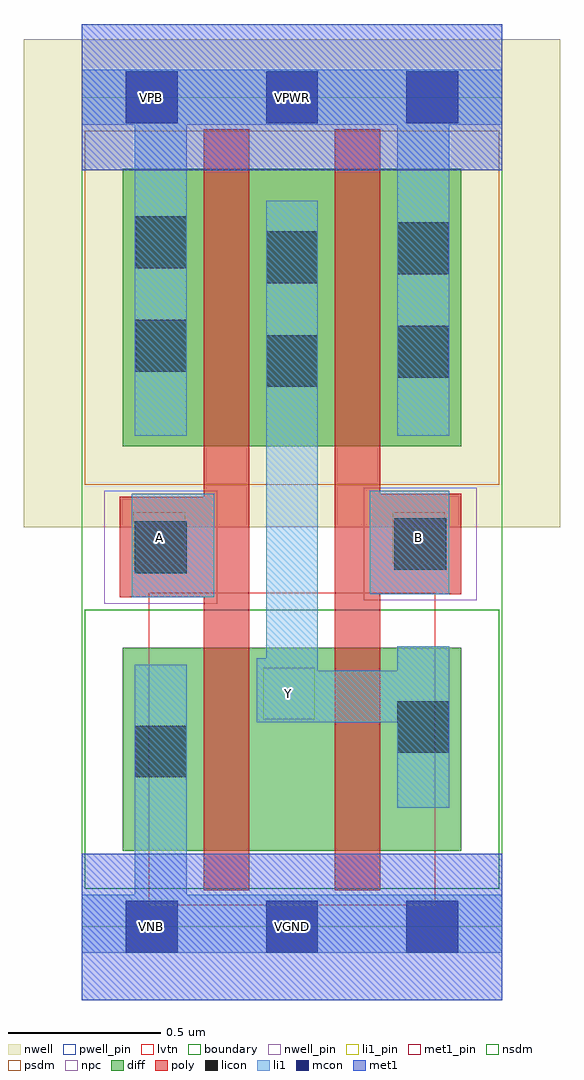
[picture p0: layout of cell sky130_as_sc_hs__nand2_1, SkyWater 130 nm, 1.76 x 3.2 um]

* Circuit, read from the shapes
.subckt sky130_as_sc_hs__nand2_1 A B VGND VNB VPB VPWR Y
XM1 n1 A VGND VNB sky130_fd_pr__nfet_01v8_lvt w=0.665 l=0.15
XM2 Y B n1 VNB sky130_fd_pr__nfet_01v8_lvt w=0.665 l=0.15
XM3 Y A VPWR VPB sky130_fd_pr__pfet_01v8 w=0.91 l=0.15
XM4 VPWR B Y VPB sky130_fd_pr__pfet_01v8 w=0.91 l=0.15
.ends

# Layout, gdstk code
import gdstk
lib = gdstk.Library(unit=1e-6, precision=1e-09)
def R(c, l, rs):  # rectangles x0, y0, x1, y1
    for r in rs: c.add(gdstk.rectangle(r[:2], r[2:], *l))
def A(c, l, x, y, w, h, nx, ny, dx, dy):  # array of equal rectangles
    R(c, l, [(x+i*dx, y+j*dy, x+i*dx+w, y+j*dy+h) for i in range(nx) for j in range(ny)])
nwell_pin = (64, 16)
nwell = (64, 20)
diff = (65, 20)
poly = (66, 20)
licon = (66, 44)
li1_pin = (67, 16)
li1 = (67, 20)
mcon = (67, 44)
met1_pin = (68, 16)
met1 = (68, 20)
nsdm = (93, 44)
psdm = (94, 20)
npc = (95, 20)
pwell_pin = (122, 16)
lvtn = (125, 44)
boundary = (235, 4)

sky130_as_sc_hs__nand2_1 = lib.new_cell('sky130_as_sc_hs__nand2_1')
R(sky130_as_sc_hs__nand2_1, nwell_pin, [(0.145,2.635,0.315,2.805)])
R(sky130_as_sc_hs__nand2_1, nwell, [(-0.19,1.31,1.57,2.91)])
R(sky130_as_sc_hs__nand2_1, diff, [(0.135,0.25,1.245,0.915), (0.135,1.575,1.245,2.485)])
R(sky130_as_sc_hs__nand2_1, poly, [(0.4,0.12,0.55,1.08), (0.83,0.12,0.98,1.09), (0.125,1.08,0.55,1.41), (0.83,1.09,1.245,1.42), (0.4,1.41,0.55,2.615), (0.83,1.42,0.98,2.615)])
R(sky130_as_sc_hs__nand2_1, licon, [(0.175,0.49,0.345,0.66), (1.035,0.57,1.205,0.74), (0.175,1.16,0.345,1.33), (1.025,1.17,1.195,1.34), (0.605,1.77,0.775,1.94), (1.035,1.8,1.205,1.97), (0.175,1.82,0.345,1.99), (0.605,2.11,0.775,2.28), (1.035,2.14,1.205,2.31), (0.175,2.16,0.345,2.33)])
R(sky130_as_sc_hs__nand2_1, li1_pin, [(0.595,0.68,0.765,0.85), (0.17,1.19,0.34,1.36), (1.02,1.19,1.19,1.36)])
R(sky130_as_sc_hs__nand2_1, li1, [(0,-0.085,1.38,0.105), (0.175,0.105,0.345,0.86), (1.035,0.39,1.205,0.67), (0.575,0.67,1.205,0.84), (0.575,0.84,0.775,0.88), (1.035,0.84,1.205,0.92), (0.605,0.88,0.775,2.38), (0.165,1.08,0.435,1.42), (0.945,1.09,1.205,1.43), (0.175,1.61,0.345,2.63), (1.035,1.61,1.205,2.63), (0,2.63,1.38,2.81)])
A(sky130_as_sc_hs__nand2_1, mcon, 0.145, -0.085, 0.17, 0.17, 3, 2, 0.46, 2.72)
R(sky130_as_sc_hs__nand2_1, met1_pin, [(0,-0.24,1.38,0.24), (0.145,-0.085,0.315,0.085), (0,2.48,1.38,2.96), (0.145,2.635,0.315,2.805)])
R(sky130_as_sc_hs__nand2_1, met1, [(0,-0.24,1.38,0.24), (0,2.48,1.38,2.96)])
R(sky130_as_sc_hs__nand2_1, nsdm, [(0.01,0.125,1.37,1.04)])
R(sky130_as_sc_hs__nand2_1, psdm, [(0.01,1.45,1.37,2.61)])
R(sky130_as_sc_hs__nand2_1, npc, [(0.075,1.06,0.445,1.43), (0.925,1.07,1.295,1.44)])
R(sky130_as_sc_hs__nand2_1, pwell_pin, [(0.145,-0.085,0.315,0.085)])
R(sky130_as_sc_hs__nand2_1, lvtn, [(0.22,0.07,1.16,1.095)])
R(sky130_as_sc_hs__nand2_1, boundary, [(0,0,1.38,2.72)])
sky130_as_sc_hs__nand2_1.add(gdstk.Label('VNB', (0.23,0), layer=64, texttype=59))
sky130_as_sc_hs__nand2_1.add(gdstk.Label('VPB', (0.23,2.72), layer=64, texttype=5))
sky130_as_sc_hs__nand2_1.add(gdstk.Label('A', (0.255,1.275), layer=67, texttype=5))
sky130_as_sc_hs__nand2_1.add(gdstk.Label('B', (1.105,1.275), layer=67, texttype=5))
sky130_as_sc_hs__nand2_1.add(gdstk.Label('Y', (0.68,0.765), layer=67, texttype=5))
sky130_as_sc_hs__nand2_1.add(gdstk.Label('VNB', (0.23,0), layer=64, texttype=59))
sky130_as_sc_hs__nand2_1.add(gdstk.Label('VPB', (0.23,2.72), layer=64, texttype=5))
sky130_as_sc_hs__nand2_1.add(gdstk.Label('VPWR', (0.69,2.72), layer=68, texttype=5))
sky130_as_sc_hs__nand2_1.add(gdstk.Label('VPWR', (0.23,2.72), layer=68, texttype=5))
sky130_as_sc_hs__nand2_1.add(gdstk.Label('VGND', (0.69,0), layer=68, texttype=5))
sky130_as_sc_hs__nand2_1.add(gdstk.Label('VGND', (0.23,0), layer=68, texttype=5))
sky130_as_sc_hs__nand2_1.add(gdstk.Label('B', (1.105,1.275), layer=67, texttype=5))
sky130_as_sc_hs__nand2_1.add(gdstk.Label('A', (0.255,1.275), layer=67, texttype=5))
sky130_as_sc_hs__nand2_1.add(gdstk.Label('Y', (0.68,0.765), layer=67, texttype=5))

lib.write_gds('sky130_as_sc_hs__nand2_1.gds')
